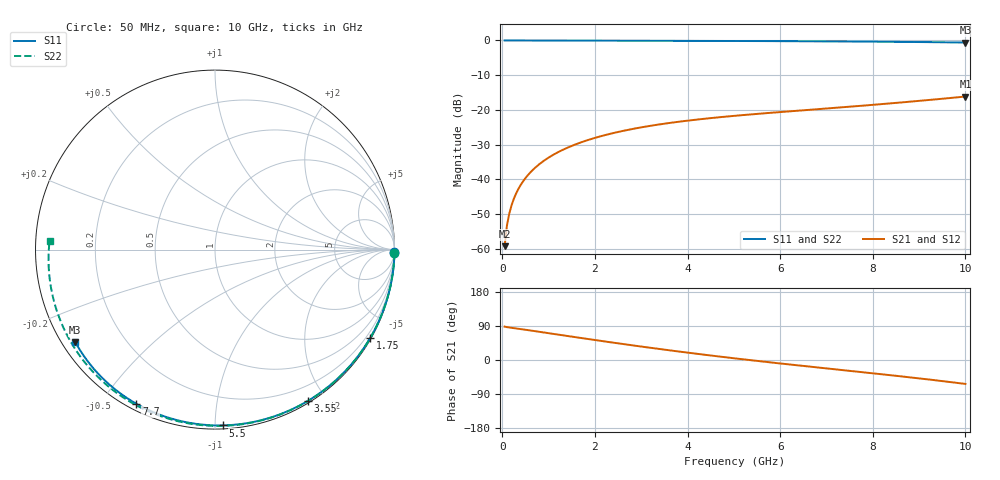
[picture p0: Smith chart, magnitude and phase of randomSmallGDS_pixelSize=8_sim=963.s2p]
! freq	dB(S11)	phase(S11)	dB(S12)	phase(S12)
!  dB(S21)	phase(S21)	dB(S22)	phase(S22)
!S-par simulation data
#  GHz  S  DB  R 50
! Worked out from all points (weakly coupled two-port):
!   200 points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, 50 MHz to 10 GHz, reference 50 ohm
!   highest |S21| = -16.18 dB at 10 GHz (marker M1); lowest = -59.3 dB at 50 MHz (marker M2)
!   lowest |S11| = -0.6 dB at 10 GHz (marker M3), VSWR 29.09, Z = 1.87 - j15 ohm
!   |S11| at or under -10 dB: nowhere
!   |S22| runs from -0.7 to 0.0 dB; largest |S21 - S12| = 0
!   S11 on the Smith chart (normalised r, x): 50 MHz: open; 1.75 GHz: 0.04, -3.77; 3.55 GHz: 0.02, -1.78; 5.5 GHz: 0.02, -1.05; 7.7 GHz: 0.03, -0.61; 10 GHz: 0.04, -0.30
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0.05  -0.00 -0.9  -59.31 88.1  -59.31 88.1  -0.00 -1.0
0.1  -0.00 -1.7  -53.40 86.7  -53.40 86.7  -0.00 -2.1
0.15  -0.00 -2.6  -49.96 85.8  -49.96 85.8  -0.00 -3.1
0.2  -0.00 -3.5  -47.52 84.9  -47.52 84.9  -0.00 -4.2
0.25  -0.00 -4.3  -45.62 84.1  -45.62 84.1  -0.00 -5.2
0.35  -0.00 -6.0  -42.75 82.4  -42.75 82.4  -0.01 -7.3
0.5  -0.01 -8.6  -39.69 79.8  -39.69 79.8  -0.01 -10.4
0.7  -0.01 -12.0  -36.81 76.3  -36.81 76.3  -0.02 -14.5
1  -0.02 -17.1  -33.77 70.8  -33.77 70.8  -0.03 -20.6
1.35  -0.03 -23.0  -31.27 64.4  -31.27 64.4  -0.04 -27.7
1.75  -0.04 -29.7  -29.15 57.2  -29.15 57.2  -0.05 -35.7
2.6  -0.07 -43.6  -26.09 42.2  -26.09 42.2  -0.08 -52.4
3.4  -0.09 -56.3  -24.19 28.9  -24.19 28.9  -0.11 -67.5
3.55  -0.09 -58.6  -23.90 26.5  -23.90 26.5  -0.11 -70.3
4.3  -0.12 -70.0  -22.67 14.9  -22.67 14.9  -0.14 -83.9
5.05  -0.15 -81.0  -21.69 3.9  -21.69 3.9  -0.18 -97.0
5.5  -0.17 -87.4  -21.17 -2.4  -21.17 -2.4  -0.20 -104.7
6.7  -0.24 -103.8  -19.93 -18.3  -19.93 -18.3  -0.28 -124.9
7.7  -0.32 -117.0  -18.89 -31.1  -18.89 -31.1  -0.37 -141.7
8.35  -0.38 -125.4  -18.18 -39.6  -18.18 -39.6  -0.45 -152.7
9.2  -0.48 -136.3  -17.18 -51.3  -17.18 -51.3  -0.56 -167.8
10  -0.60 -146.5  -16.18 -63.1  -16.18 -63.1  -0.70 177.1
